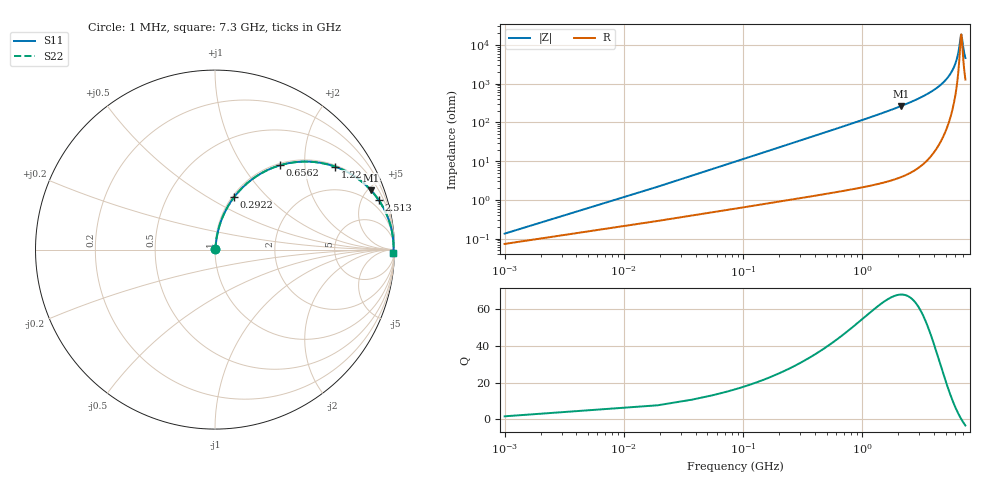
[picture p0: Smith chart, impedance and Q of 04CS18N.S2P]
! Coilcraft 0402CS-18N Chip Inductor
! 22 July 2002
# MHZ S MA R 50
!Freq  MagS11  AngS11  MagS21  AngS21  MagS12  AngS12  MagS22  AngS22
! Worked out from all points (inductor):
!   403 points, 1 MHz to 7.3 GHz, reference 50 ohm
!   read as one part in series: L = 18 nH near 37.4 MHz
!   highest Q = 68.2 at 2.094 GHz (marker M1), where L = 19.9 nH
!   self-resonance near 6.735 GHz
!   S11 on the Smith chart (normalised r, x): 1 MHz: 1.00, +0.00; 292.2 MHz: 1.02, +0.66; 656.2 MHz: 1.03, +1.50; 1.22 GHz: 1.05, +2.85; 2.513 GHz: 1.10, +6.60; 7.3 GHz: 27, -88
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1  0.001346 57.1  0.9993 -0.1  0.9993 -0.1  0.001346 57.1
55.6  0.06265 82.0  0.9933 -3.6  0.9933 -3.6  0.06265 82.0
73.8  0.08291 81.5  0.9911 -4.7  0.9911 -4.7  0.08291 81.5
110.2  0.1231 79.9  0.9858 -7.1  0.9858 -7.1  0.1231 79.9
164.8  0.1821 77.0  0.9753 -10.5  0.9753 -10.5  0.1821 77.0
292.2  0.3114 70.0  0.9401 -18.1  0.9401 -18.1  0.3114 70.0
456  0.4553 61.4  0.8784 -27.1  0.8784 -27.1  0.4553 61.4
656.2  0.5934 52.3  0.7918 -36.4  0.7918 -36.4  0.5934 52.3
1220.4  0.8126 34.7  0.5693 -54.3  0.5693 -54.3  0.8126 34.7
2094  0.9298 20.8  0.3547 -68.4  0.3547 -68.4  0.9298 20.8
2439.8  0.9498 17.4  0.2991 -71.7  0.2991 -71.7  0.9498 17.4
2512.6  0.9531 16.8  0.2887 -72.4  0.2887 -72.4  0.9531 16.8
3659.2  0.9824 9.6  0.1674 -79.2  0.1674 -79.2  0.9824 9.6
4878.6  0.9926 4.9  0.0857 -82.6  0.0857 -82.6  0.9926 4.9
5588.4  0.9946 2.8  0.04936 -82.3  0.04936 -82.3  0.9946 2.8
6098  0.995 1.5  0.02661 -78.4  0.02661 -78.4  0.995 1.5
6371  0.9949 0.8  0.01555 -70.6  0.01555 -70.6  0.9949 0.8
6662.2  0.9947 0.2  0.006088 -30.2  0.006088 -30.2  0.9947 0.2
6735  0.9947 0.0  0.005339 -2.6  0.005339 -2.6  0.9947 0.0
6807.8  0.9946 -0.1  0.005988 25.1  0.005988 25.1  0.9946 -0.1
7080.8  0.9942 -0.7  0.01403 65.1  0.01403 65.1  0.9942 -0.7
7300  0.9938 -1.2  0.0216 72.7  0.0216 72.7  0.9938 -1.2
